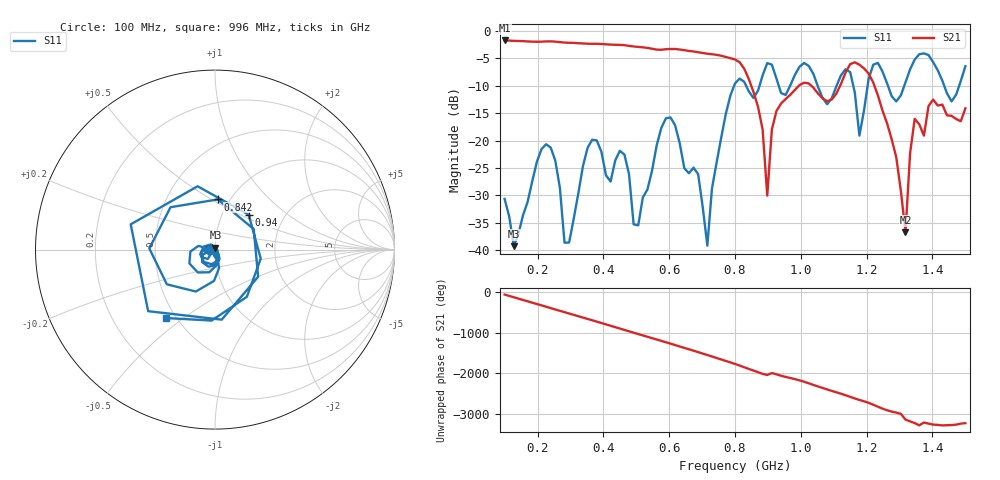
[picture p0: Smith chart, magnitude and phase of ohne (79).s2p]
! NanoVNA-App
! Date: 2025-09-26 09:56:00
! Start: 100MHz Stop: 1,5GHz Points: 101
! S-Parameter data: F S11 S21 S12 S22
# Hz S RI R 50
!  Frequency  S11_Real  S11_Imag  S21_Real  S21_Imag  S12_Real  S12_Imag  S22_Real  S22_Imag
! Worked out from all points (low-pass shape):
!   101 points, 100 MHz to 1.5 GHz, reference 50 ohm
!   highest |S21| = -1.79 dB at 100 MHz (marker M1); lowest = -36.7 dB at 1.318 GHz (marker M2)
!   |S21| within 3 dB of the highest: start of sweep to 771.7 MHz
!   lowest |S11| = -39.2 dB at 128 MHz (marker M3), VSWR 1.02, Z = 50.3 + j1.06 ohm
!   |S11| at or under -10 dB: start of sweep to 797.5 MHz; 833.5 MHz to 874.7 MHz (41.13 MHz wide, 4.82 % of centre); 1.051 GHz to 1.109 GHz (57.94 MHz wide, 5.37 % of centre) (the widest 3 of 7)
!   S12 and S22 are empty: the file has one direction only
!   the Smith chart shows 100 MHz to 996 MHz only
!   S11 on the Smith chart (normalised r, x): 100 MHz: 0.94, -0.01; 842 MHz: 0.88, +0.53; 940 MHz: 1.33, +0.56; 996 MHz: 0.44, -0.43
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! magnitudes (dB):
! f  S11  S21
! 100 MHz  -30.6  -1.8
! 128 MHz  -39.2  -1.9
! 212 MHz  -21.6  -2.0
! 282 MHz  -38.6  -2.2
! 338 MHz  -24.7  -2.3
! 464 MHz  -22.6  -2.6
! 506 MHz  -35.4  -3.0
! 576 MHz  -17.7  -3.5
! 716 MHz  -39.1  -4.2
! 800 MHz  -9.6  -5.2
! 842 MHz  -11.1  -8.8
! 898 MHz  -5.9  -30.0
! 940 MHz  -11.4  -13.3
! 996 MHz  -6.6  -9.9
! 1.038 GHz  -7.9  -10.4
! 1.15 GHz  -7.6  -6.1
! 1.178 GHz  -19.1  -6.2
! 1.22 GHz  -6.2  -9.5
! 1.276 GHz  -11.9  -19.8
! 1.318 GHz  -9.4  -36.7
! 1.346 GHz  -5.3  -16.1
! 1.5 GHz  -6.5  -14.1
